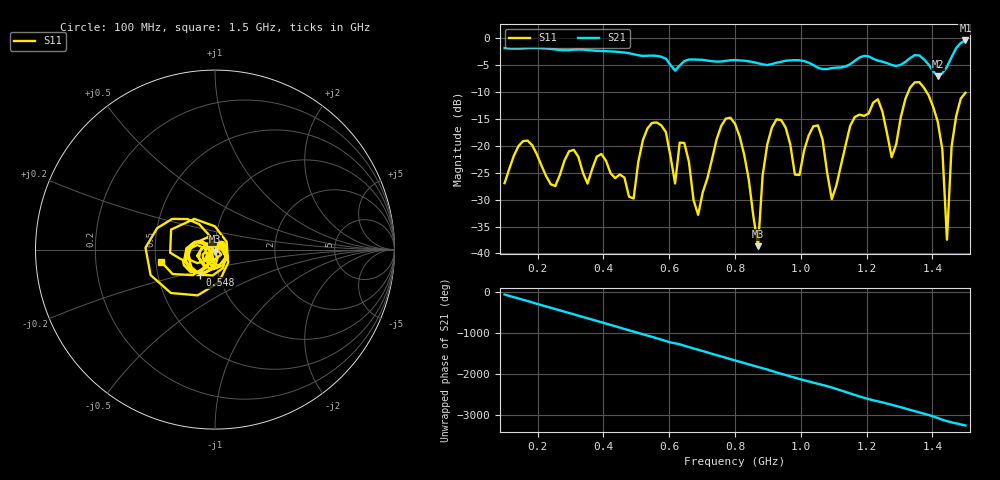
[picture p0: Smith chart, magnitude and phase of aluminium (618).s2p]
! NanoVNA-App
! Date: 2025-09-25 15:00:05
! Start: 100MHz Stop: 1,5GHz Points: 101
! S-Parameter data: F S11 S21 S12 S22
# Hz S RI R 50
!  Frequency  S11_Real  S11_Imag  S21_Real  S21_Imag  S12_Real  S12_Imag  S22_Real  S22_Imag
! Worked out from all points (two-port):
!   101 points, 100 MHz to 1.5 GHz, reference 50 ohm
!   highest |S21| = -0.50 dB at 1.5 GHz (marker M1); lowest = -7.2 dB at 1.416 GHz (marker M2)
!   |S21| within 3 dB of the highest: start of sweep to 574.6 MHz; 1.459 GHz to end of sweep (the widest 2 of 4)
!   lowest |S11| = -38.6 dB at 870 MHz (marker M3), VSWR 1.02, Z = 50.2 - j1.16 ohm
!   |S11| at or under -10 dB: start of sweep to 1.327 GHz; 1.381 GHz to end of sweep
!   S12 and S22 are empty: the file has one direction only
!   S11 on the Smith chart (normalised r, x): 100 MHz: 1.07, +0.06; 548 MHz: 0.82, -0.24; 1.5 GHz: 0.53, -0.08
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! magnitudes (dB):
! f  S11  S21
! 100 MHz  -27.0  -1.9
! 156 MHz  -19.2  -2.0
! 338 MHz  -25.0  -2.2
! 492 MHz  -29.8  -3.1
! 548 MHz  -15.8  -3.3
! 576 MHz  -16.2  -3.5
! 618 MHz  -27.0  -6.1
! 646 MHz  -19.5  -4.3
! 688 MHz  -32.8  -4.1
! 800 MHz  -15.9  -4.1
! 870 MHz  -38.6  -4.7
! 912 MHz  -16.7  -4.9
! 996 MHz  -25.4  -4.2
! 1.038 GHz  -16.4  -5.1
! 1.094 GHz  -29.9  -5.6
! 1.234 GHz  -11.4  -4.2
! 1.276 GHz  -22.1  -5.0
! 1.346 GHz  -8.3  -3.2
! 1.416 GHz  -15.6  -7.2
! 1.444 GHz  -37.5  -5.4
! 1.458 GHz  -20.2  -3.6
! 1.5 GHz  -10.2  -0.5
